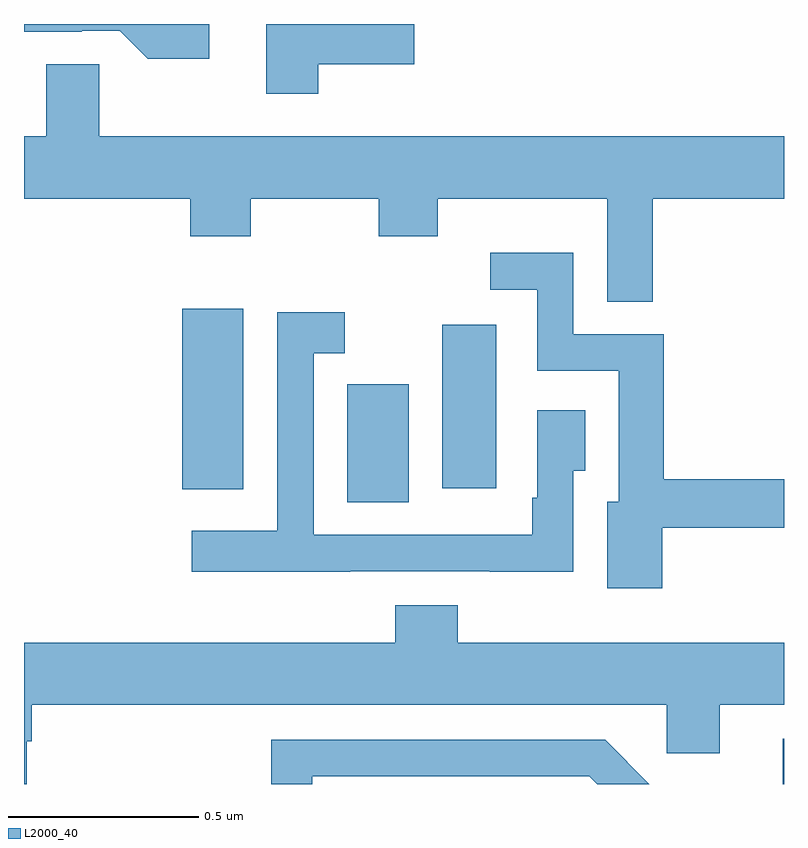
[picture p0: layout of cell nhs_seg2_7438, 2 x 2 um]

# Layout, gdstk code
import gdstk
lib = gdstk.Library(unit=1e-6, precision=1e-09)
def R(c, l, rs):  # rectangles x0, y0, x1, y1
    for r in rs: c.add(gdstk.rectangle(r[:2], r[2:], *l))
def P(c, l, *ps):  # polygons
    for p in ps: c.add(gdstk.Polygon(p, *l))
L2000_40 = (2000, 40)

nhs_seg2_7438 = lib.new_cell('nhs_seg2_7438')
R(nhs_seg2_7438, L2000_40, [(205.997,608.8,206,608.919), (204.851,609.541,205.012,609.852), (204.416,609.576,204.577,610.051), (205.1,609.578,205.243,610.009)])
P(nhs_seg2_7438, L2000_40, [(204.487,610.8),(204,610.8),(204,610.779),(204.152,610.779),(204.152,610.782),(204.252,610.782),(204.325,610.709),(204.487,610.709)],
  [(204.774,610.694),(205.027,610.694),(205.027,610.8),(204.638,610.8),(204.638,610.616),(204.774,610.616)],
  [(205.654,610.34),(206,610.34),(206,610.504),(204.198,610.504),(204.198,610.694),(204.059,610.694),(204.059,610.504),(204,610.504),(204,610.34),(204.437,610.34),(204.437,610.241),(204.597,610.241),(204.597,610.34),(204.934,610.34),(204.934,610.241),(205.089,610.241),(205.089,610.34),(205.535,610.34),(205.535,610.069),(205.654,610.069)],
  [(205.679,609.474),(206,609.474),(206,609.602),(205.684,609.602),(205.684,609.984),(205.446,609.984),(205.446,610.198),(205.227,610.198),(205.227,610.101),(205.35,610.101),(205.35,609.888),(205.565,609.888),(205.565,609.543),(205.535,609.543),(205.535,609.315),(205.679,609.315)],
  [(204.859,609.36),(205.225,609.36),(205.225,609.359),(205.446,609.359),(205.446,609.625),(205.477,609.625),(205.477,609.784),(205.35,609.784),(205.35,609.553),(205.338,609.553),(205.338,609.456),(204.762,609.456),(204.762,609.933),(204.844,609.933),(204.844,610.042),(204.666,610.042),(204.666,609.466),(204.441,609.466),(204.441,609.359),(204.859,609.359)],
  [(204.007,608.912),(204.02,608.912),(204.02,609.008),(205.692,609.008),(205.692,608.881),(205.831,608.881),(205.831,609.008),(206,609.008),(206,609.172),(205.142,609.172),(205.142,609.271),(204.977,609.271),(204.977,609.172),(204,609.172),(204,608.8),(204.007,608.8)],
  [(204.759,608.82),(205.488,608.82),(205.508,608.8),(205.646,608.8),(205.53,608.916),(204.651,608.916),(204.651,608.8),(204.759,608.8)])

lib.write_gds('nhs_seg2_7438.gds')
